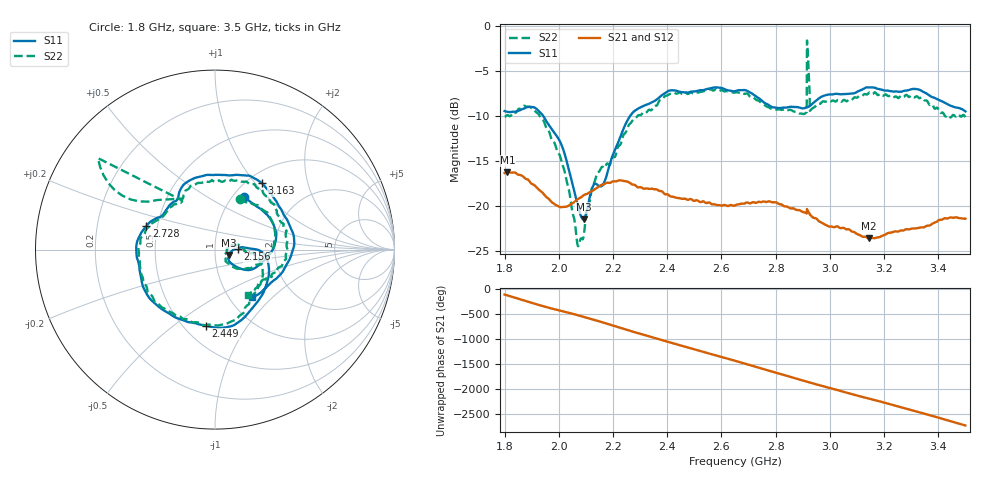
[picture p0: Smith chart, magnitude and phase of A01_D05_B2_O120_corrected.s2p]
! Created with skrf 1.9.0 (http://scikit-rf.org).
# Hz S RI R 50.0
!freq ReS11 ImS11 ReS21 ImS21 ReS12 ImS12 ReS22 ImS22
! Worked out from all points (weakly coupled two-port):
!   1601 points, 1.8 GHz to 3.5 GHz, reference 50 ohm
!   highest |S21| = -16.28 dB at 1.811 GHz (marker M1); lowest = -23.6 dB at 3.144 GHz (marker M2)
!   lowest |S11| = -21.5 dB at 2.091 GHz (marker M3), VSWR 1.18, Z = 58.4 - j3.45 ohm
!   |S11| at or under -10 dB: 1.942 GHz to 2.264 GHz (322.2 MHz wide, 15.3 % of centre)
!   |S22| runs from -24.5 to -1.6 dB; largest |S21 - S12| = 0.0029
!   S11 on the Smith chart (normalised r, x): 1.8 GHz: 1.13, +0.75; 2.156 GHz: 1.29, +0.01; 2.449 GHz: 0.64, -0.66; 2.728 GHz: 0.43, +0.14; 3.163 GHz: 1.17, +1.09; 3.5 GHz: 1.27, -0.75
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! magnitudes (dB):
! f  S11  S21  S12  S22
! 1.8 GHz  -9.5  -16.4  -16.4  -10.1
! 1.811 GHz  -9.6  -16.3  -16.3  -9.9
! 1.881 GHz  -9.1  -17.1  -17.1  -9.0
! 1.942 GHz  -10.0  -18.6  -18.6  -10.5
! 2.013 GHz  -13.4  -20.2  -20.2  -15.4
! 2.068 GHz  -19.7  -19.3  -19.3  -24.2
! 2.084 GHz  -21.3  -19.0  -19.0  -23.6
! 2.091 GHz  -21.5  -18.8  -18.9  -23.5
! 2.127 GHz  -17.8  -18.3  -18.3  -17.6
! 2.156 GHz  -17.9  -17.7  -17.7  -15.8
! 2.262 GHz  -10.1  -17.5  -17.5  -10.9
! 2.367 GHz  -8.1  -18.3  -18.3  -8.5
! 2.449 GHz  -7.4  -19.2  -19.2  -7.5
! 2.65 GHz  -7.3  -20.0  -19.9  -7.4
! 2.728 GHz  -7.9  -19.7  -19.7  -8.2
! 2.906 GHz  -9.2  -20.7  -20.7  -9.8
! 2.924 GHz  -9.0  -20.8  -20.8  -6.8
! 2.934 GHz  -8.7  -21.2  -21.2  -9.2
! 3.144 GHz  -6.9  -23.6  -23.6  -7.5
! 3.163 GHz  -6.9  -23.6  -23.6  -7.5
! 3.217 GHz  -7.2  -23.0  -23.0  -7.8
! 3.5 GHz  -9.5  -21.4  -21.4  -10.2
